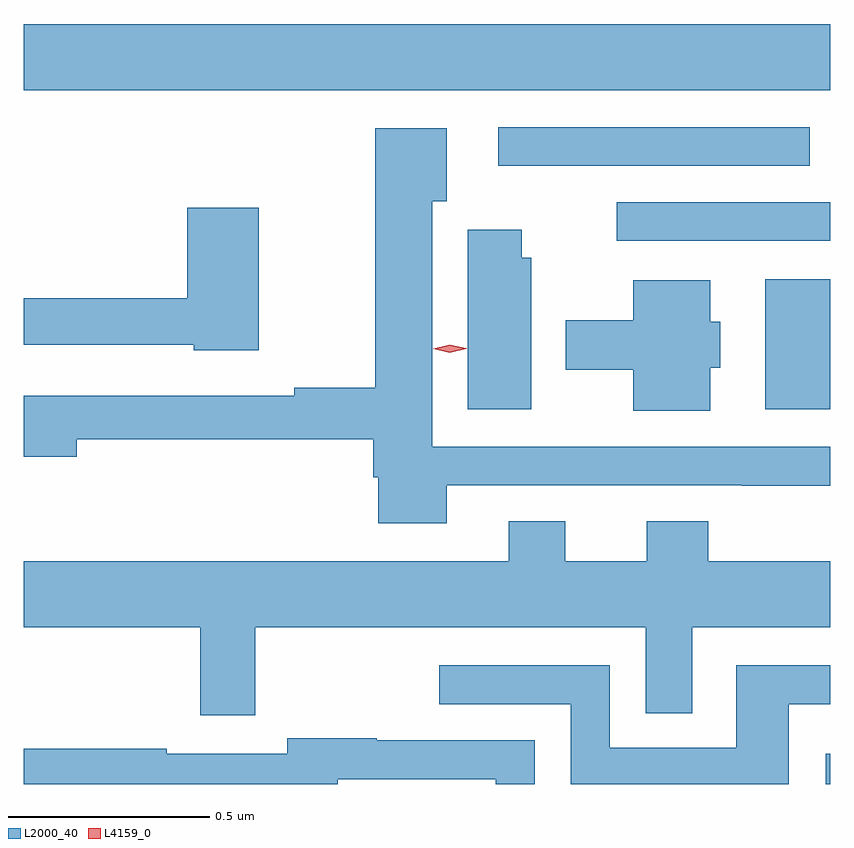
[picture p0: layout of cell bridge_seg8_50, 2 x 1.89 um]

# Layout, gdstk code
import gdstk
lib = gdstk.Library(unit=1e-6, precision=1e-09)
def R(c, l, rs):  # rectangles x0, y0, x1, y1
    for r in rs: c.add(gdstk.rectangle(r[:2], r[2:], *l))
def P(c, l, *ps):  # polygons
    for p in ps: c.add(gdstk.Polygon(p, *l))
L2000_40 = (2000, 40)
L4159_0 = (4159, 0)

bridge_seg8_50 = lib.new_cell('bridge_seg8_50')
R(bridge_seg8_50, L2000_40, [(1030.718,1113.447,1030.729,1113.522), (1030.568,1114.376,1030.729,1114.699), (1030.2,1114.794,1030.729,1114.89), (1029.906,1114.98,1030.678,1115.076), (1028.729,1115.168,1030.729,1115.332)])
P(bridge_seg8_50, L2000_40, [(1029.778,1114.188),(1030.51,1114.188),(1030.51,1114.187),(1030.729,1114.187),(1030.729,1114.284),(1029.742,1114.284),(1029.742,1114.892),(1029.778,1114.892),(1029.778,1115.074),(1029.601,1115.074),(1029.601,1114.43),(1029.4,1114.43),(1029.4,1114.41),(1028.729,1114.41),(1028.729,1114.259),(1028.86,1114.259),(1028.86,1114.302),(1029.596,1114.302),(1029.596,1114.208),(1029.608,1114.208),(1029.608,1114.094),(1029.778,1114.094)],
  [(1029.312,1114.876),(1029.134,1114.876),(1029.134,1114.652),(1028.729,1114.652),(1028.729,1114.536),(1029.15,1114.536),(1029.15,1114.523),(1029.312,1114.523)],
  [(1029.988,1114.752),(1029.964,1114.752),(1029.964,1114.822),(1029.83,1114.822),(1029.83,1114.376),(1029.988,1114.376)],
  [(1030.432,1114.479),(1030.456,1114.479),(1030.456,1114.593),(1030.432,1114.593),(1030.432,1114.696),(1030.241,1114.696),(1030.241,1114.597),(1030.073,1114.597),(1030.073,1114.475),(1030.241,1114.475),(1030.241,1114.373),(1030.432,1114.373)],
  [(1029.303,1113.836),(1030.271,1113.836),(1030.271,1113.622),(1030.387,1113.622),(1030.387,1113.836),(1030.729,1113.836),(1030.729,1114),(1030.427,1114),(1030.427,1114.099),(1030.274,1114.099),(1030.274,1114),(1030.072,1114),(1030.072,1114.099),(1029.932,1114.099),(1029.932,1114),(1028.729,1114),(1028.729,1113.836),(1029.167,1113.836),(1029.167,1113.618),(1029.303,1113.618)],
  [(1030.626,1113.645),(1030.729,1113.645),(1030.729,1113.741),(1030.496,1113.741),(1030.496,1113.537),(1030.182,1113.537),(1030.182,1113.741),(1029.759,1113.741),(1029.759,1113.645),(1030.086,1113.645),(1030.086,1113.447),(1030.626,1113.447)],
  [(1029.508,1113.459),(1029.9,1113.459),(1029.9,1113.447),(1029.996,1113.447),(1029.996,1113.555),(1029.604,1113.555),(1029.604,1113.56),(1029.383,1113.56),(1029.383,1113.522),(1029.083,1113.522),(1029.083,1113.535),(1028.729,1113.535),(1028.729,1113.447),(1029.508,1113.447)])
P(bridge_seg8_50, L4159_0, [(1029.786,1114.517),(1029.745,1114.527),(1029.745,1114.527),(1029.745,1114.527),(1029.786,1114.537),(1029.826,1114.528),(1029.827,1114.528),(1029.826,1114.527)])

lib.write_gds('bridge_seg8_50.gds')
